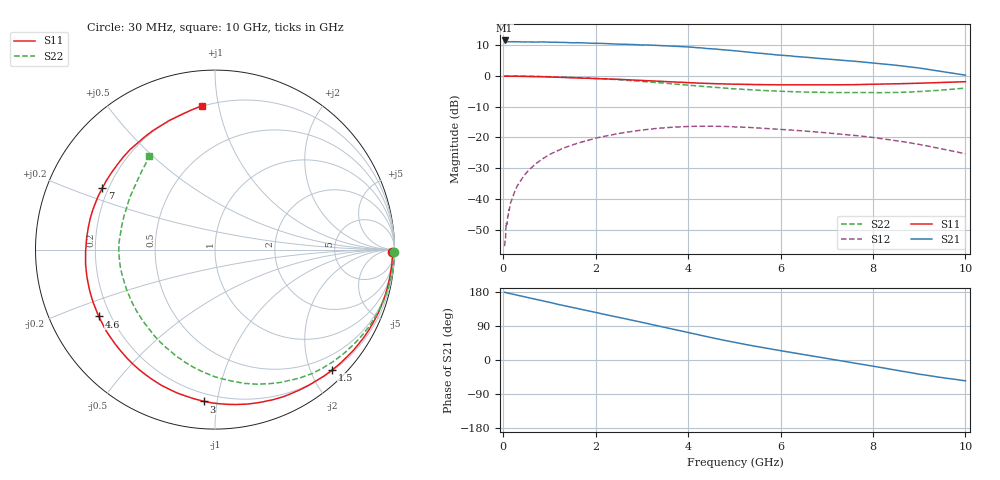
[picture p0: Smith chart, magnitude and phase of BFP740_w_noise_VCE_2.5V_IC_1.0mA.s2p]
! Infineon Technologies  Discrete & RF Semiconductors
! BFP740
! VCE =  2.5 V,  IC =  1.0 mA
! Common Emitter S-Parameters:  Jan 2016
# GHz  S  MA  R  50
!  f  S11  S21  S12  S22
! GHz  MAG  ANG  MAG  ANG  MAG  ANG  MAG  ANG
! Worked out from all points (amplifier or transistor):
!   229 points, 30 MHz to 10 GHz, reference 50 ohm
!   highest |S21| = 11.5 dB at 30 MHz (marker M1)
!   |S21| within 3 dB of that: start of sweep to 4.731 GHz
!   unconditionally stable (mu >= 1): 8.833 GHz to end of sweep
!   at 280 MHz: K = 0.05, MSG = 23.8 dB, |S12| = -36.5 dB
!   at 1.78 GHz: K = 0.15, MSG = 15.9 dB, |S12| = -21.1 dB
!   at 10 GHz: K = 1.40, MAG = 9.0 dB, |S12| = -25.3 dB
!   lowest NFmin = 0.50 dB at 450 MHz
!   S11 on the Smith chart (normalised r, x): 30 MHz: open; 1.5 GHz: 0.22, -2.35; 3 GHz: 0.15, -0.92; 4.6 GHz: 0.15, -0.26; 7 GHz: 0.18, +0.25; 10 GHz: 0.20, +0.90
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0.03  0.9888 -0.9  3.776 178.6  0.0017 102.2  0.9998 -0.7
0.04  0.9897 -1.2  3.566 178.3  0.0021 87.6  0.9997 -0.9
0.05  0.9904 -1.5  3.584 178.3  0.0021 106.6  0.9984 -1.2
0.06  0.9907 -1.8  3.581 177.8  0.0041 71.2  0.9997 -1.3
0.08  0.9905 -2.4  3.574 177.2  0.0039 104.1  0.9998 -1.7
0.15  0.989 -4.6  3.599 175.3  0.0082 88.2  0.9985 -3.3
0.38  0.9843 -11.5  3.575 169.0  0.02 81.0  0.9942 -8.2
0.9  0.9675 -27.4  3.575 154.9  0.0474 68.9  0.9767 -19.3
1.5  0.9359 -45.8  3.454 138.7  0.0756 54.7  0.9429 -32.2
1.7  0.9239 -52.2  3.454 133.3  0.0842 50.0  0.9286 -36.5
2.3  0.8914 -71.5  3.354 117.6  0.1088 36.3  0.8841 -49.8
3  0.848 -94.2  3.18 99.5  0.1317 20.6  0.8173 -65.4
3.4  0.8187 -108.2  3.116 88.7  0.1415 11.3  0.7732 -75.2
3.9  0.7845 -125.9  2.987 75.1  0.1499 -0.3  0.7176 -87.7
4.6  0.7474 -150.1  2.735 56.6  0.1517 -15.9  0.649 -105.0
5.1  0.7312 -165.5  2.528 44.3  0.1476 -25.8  0.611 -116.3
5.8  0.7175 176.5  2.249 28.7  0.1379 -38.0  0.5708 -131.5
6.8  0.7156 155.7  1.936 8.3  0.1223 -52.9  0.5411 -154.9
7  0.7153 151.5  1.888 4.2  0.1185 -55.5  0.5375 -159.9
8.4  0.7412 121.5  1.518 -24.8  0.0907 -73.4  0.5367 165.2
9  0.763 109.5  1.345 -37.4  0.0769 -79.4  0.5569 148.4
10  0.8059 95.0  1.029 -54.9  0.0541 -81.4  0.6348 125.1
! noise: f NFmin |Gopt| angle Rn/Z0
0.45  0.5  0.62  13  0.41
0.9  0.58  0.64  21  0.39
1.5  0.71  0.61  32  0.38
1.9  0.76  0.58  45  0.37
2.4  0.81  0.58  52  0.35
3.5  0.96  0.55  78  0.32
5.5  1.37  0.4  148  0.29
10  2.28  0.63  -92  0.39
